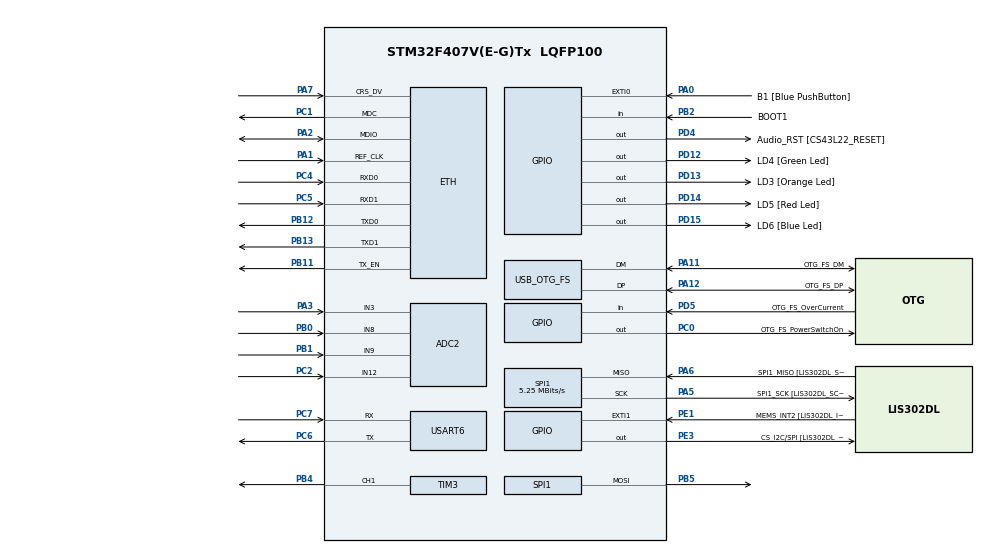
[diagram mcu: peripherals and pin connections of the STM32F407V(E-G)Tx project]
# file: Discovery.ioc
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ADC1.Channel-0\#ChannelRegularConversion=ADC_CHANNEL_TEMPSENSOR
ADC1.NbrOfConversionFlag=1
ADC1.Rank-0\#ChannelRegularConversion=1
ADC1.SamplingTime-0\#ChannelRegularConversion=ADC_SAMPLETIME_3CYCLES
ADC1.master=1
ADC2.Channel-1\#ChannelRegularConversion=ADC_CHANNEL_3
ADC2.NbrOfConversionFlag=1
ADC2.Rank-1\#ChannelRegularConversion=1
ADC2.SamplingTime-1\#ChannelRegularConversion=ADC_SAMPLETIME_3CYCLES
Dma.Request0=USART6_RX
Dma.USART6_RX.0.Direction=DMA_PERIPH_TO_MEMORY
Dma.USART6_RX.0.FIFOMode=DMA_FIFOMODE_ENABLE
Dma.USART6_RX.0.FIFOThreshold=DMA_FIFO_THRESHOLD_FULL
Dma.USART6_RX.0.Instance=DMA2_Stream1
Dma.USART6_RX.0.MemBurst=DMA_MBURST_SINGLE
Dma.USART6_RX.0.MemDataAlignment=DMA_MDATAALIGN_BYTE
Dma.USART6_RX.0.MemInc=DMA_MINC_ENABLE
Dma.USART6_RX.0.Mode=DMA_CIRCULAR
Dma.USART6_RX.0.PeriphBurst=DMA_PBURST_SINGLE
Dma.USART6_RX.0.PeriphDataAlignment=DMA_PDATAALIGN_BYTE
Dma.USART6_RX.0.PeriphInc=DMA_PINC_DISABLE
Dma.USART6_RX.0.Priority=DMA_PRIORITY_LOW
ETH.MediaInterface=HAL_ETH_RMII_MODE
ETH.RxMode=ETH_RXPOLLING_MODE
LWIP.BSP.number=1
LWIP.CHECKSUM_GEN_ICMP=1
LWIP.CHECKSUM_GEN_ICMP6=1
LWIP.CHECKSUM_GEN_IP=1
LWIP.CHECKSUM_GEN_TCP=1
LWIP.CHECKSUM_GEN_UDP=1
LWIP.LWIP_HTTPD=1
LWIP.LWIP_HTTPD_CGI=1
LWIP.LWIP_HTTPD_CGI_SSI=0
LWIP.LWIP_HTTPD_DYNAMIC_HEADERS=1
LWIP.LWIP_HTTPD_MAX_CGI_PARAMETERS=4
LWIP.LWIP_STATS=1
LWIP.LWIP_TIMERS=1
LWIP.MEMP_MEM_INIT=1
LWIP.MEMP_NUM_PBUF=16
LWIP.MEMP_NUM_SYS_TIMEOUT=14
LWIP.MEMP_NUM_TCP_PCB_LISTEN=2
LWIP.MEM_SIZE=16384
LWIP.Version=v2.1.2_Cube
LWIP0.BSP.STBoard=false
LWIP0.BSP.api=BSP_COMPONENT_DRIVER
LWIP0.BSP.component=USER_PHY
LWIP0.BSP.instance=USER_PHY
LWIP0.BSP.name=Driver_PHY
LWIP0.BSP.semaphore=S_USER_PHY
LWIP0.BSP.solution=USER_PHY
Mcu.Family=STM32F4
Mcu.Name=STM32F407V(E-G)Tx
Mcu.Package=LQFP100
NVIC.DMA2_Stream1_IRQn=true\:0\:0\:false\:false\:true\:false\:true\:true
NVIC.ETH_IRQn=true\:0\:0\:false\:false\:true\:true\:true\:true
NVIC.ETH_WKUP_IRQn=true\:0\:0\:false\:false\:true\:true\:true\:true
NVIC.OTG_FS_IRQn=true\:0\:0\:false\:false\:true\:true\:true\:true
NVIC.PriorityGroup=NVIC_PRIORITYGROUP_0
NVIC.SPI1_IRQn=true\:0\:0\:false\:false\:true\:true\:true\:true
NVIC.TIM2_IRQn=true\:0\:0\:false\:false\:true\:true\:true\:true
NVIC.TIM3_IRQn=true\:0\:0\:false\:false\:true\:true\:true\:true
NVIC.USART6_IRQn=true\:0\:0\:false\:false\:true\:true\:true\:true
PA0-WKUP.GPIO_Label=B1 [Blue PushButton]
PA0-WKUP.GPIO_ModeDefaultEXTI=GPIO_MODE_EVT_RISING
PA0-WKUP.GPIO_PuPd=GPIO_NOPULL
PA0-WKUP.Signal=GPXTI0
PA1.Mode=RMII
PA1.Signal=ETH_REF_CLK
PA10.GPIO_Label=OTG_FS_ID
PA10.GPIO_Mode=GPIO_MODE_AF_PP
PA10.GPIO_PuPd=GPIO_NOPULL
PA10.GPIO_Speed=GPIO_SPEED_FREQ_LOW
PA10.Signal=USB_OTG_FS_ID
PA11.GPIO_Label=OTG_FS_DM
PA11.GPIO_Mode=GPIO_MODE_AF_PP
PA11.GPIO_PuPd=GPIO_NOPULL
PA11.GPIO_Speed=GPIO_SPEED_FREQ_LOW
PA11.Mode=Device_Only
PA11.Signal=USB_OTG_FS_DM
PA12.GPIO_Label=OTG_FS_DP
PA12.GPIO_Mode=GPIO_MODE_AF_PP
PA12.GPIO_PuPd=GPIO_NOPULL
PA12.GPIO_Speed=GPIO_SPEED_FREQ_LOW
PA12.Mode=Device_Only
PA12.Signal=USB_OTG_FS_DP
PA13.GPIO_Label=SWDIO
PA13.Mode=Serial_Wire
PA13.Signal=SYS_JTMS-SWDIO
PA14.GPIO_Label=SWCLK
PA14.Mode=Serial_Wire
PA14.Signal=SYS_JTCK-SWCLK
PA2.Mode=RMII
PA2.Signal=ETH_MDIO
PA3.Signal=ADCx_IN3
PA4.Signal=COMP_DAC1_group
PA5.GPIO_Label=SPI1_SCK [LIS302DL_SCL/SPC]
PA5.GPIO_Mode=GPIO_MODE_AF_PP
PA5.GPIO_PuPd=GPIO_NOPULL
PA5.GPIO_Speed=GPIO_SPEED_FREQ_LOW
PA5.Mode=Full_Duplex_Master
PA5.Signal=SPI1_SCK
PA6.GPIO_Label=SPI1_MISO [LIS302DL_SDO]
PA6.GPIO_Mode=GPIO_MODE_AF_PP
PA6.GPIO_PuPd=GPIO_NOPULL
PA6.GPIO_Speed=GPIO_SPEED_FREQ_LOW
PA6.Mode=Full_Duplex_Master
PA6.Signal=SPI1_MISO
PA7.Mode=RMII
PA7.Signal=ETH_CRS_DV
PA9.GPIO_Label=VBUS_FS
PA9.GPIO_Mode=GPIO_MODE_INPUT
PA9.GPIO_PuPd=GPIO_NOPULL
PA9.Signal=USB_OTG_FS_VBUS
PB0.Signal=ADCx_IN8
PB1.Signal=ADCx_IN9
PB10.GPIO_Label=CLK_IN [MP45DT02_CLK]
PB10.GPIO_Mode=GPIO_MODE_AF_PP
PB10.GPIO_PuPd=GPIO_NOPULL
PB10.GPIO_Speed=GPIO_SPEED_FREQ_LOW
PB10.Signal=I2S2_CK
PB11.Mode=RMII
PB11.Signal=ETH_TX_EN
PB12.Mode=RMII
PB12.Signal=ETH_TXD0
PB13.Mode=RMII
PB13.Signal=ETH_TXD1
PB2.GPIO_Label=BOOT1
PB2.GPIO_Mode=GPIO_MODE_INPUT
PB2.GPIO_PuPd=GPIO_NOPULL
PB2.Signal=GPIO_Input
PB3.GPIO_Label=SWO
PB3.Signal=SYS_JTDO-SWO
PB4.Signal=S_TIM3_CH1
PB5.Mode=Full_Duplex_Master
PB5.Signal=SPI1_MOSI
PB6.GPIO_Label=Audio_SCL [CS43L22_SCL]
PB6.GPIO_Mode=GPIO_MODE_AF_OD
PB6.GPIO_Pu=GPIO_PULLUP
PB6.GPIO_PuPd=GPIO_NOPULL
PB6.GPIO_Speed=GPIO_SPEED_FREQ_LOW
PB6.Signal=I2C1_SCL
PB9.GPIO_Label=Audio_SDA [CS43L22_SDA]
PB9.GPIO_Mode=GPIO_MODE_AF_OD
PB9.GPIO_Pu=GPIO_PULLUP
PB9.GPIO_PuPd=GPIO_NOPULL
PB9.GPIO_Speed=GPIO_SPEED_FREQ_LOW
PB9.Signal=I2C1_SDA
PC0.GPIO_Label=OTG_FS_PowerSwitchOn
PC0.GPIO_PuPd=GPIO_NOPULL
PC0.GPIO_Speed=GPIO_SPEED_FREQ_LOW
PC0.PinState=GPIO_PIN_SET
PC0.Signal=GPIO_Output
PC1.Mode=RMII
PC1.Signal=ETH_MDC
PC14-OSC32_IN.GPIO_Label=PC14-OSC32_IN
PC14-OSC32_IN.Mode=LSE-External-Oscillator
PC14-OSC32_IN.Signal=RCC_OSC32_IN
PC15-OSC32_OUT.GPIO_Label=PC15-OSC32_OUT
PC15-OSC32_OUT.Mode=LSE-External-Oscillator
PC15-OSC32_OUT.Signal=RCC_OSC32_OUT
PC2.Signal=ADCx_IN12
PC3.GPIO_Label=PDM_OUT [MP45DT02_DOUT]
PC3.GPIO_Mode=GPIO_MODE_AF_PP
PC3.GPIO_PuPd=GPIO_NOPULL
PC3.GPIO_Speed=GPIO_SPEED_FREQ_LOW
PC3.Signal=I2S2_SD
PC4.Mode=RMII
PC4.Signal=ETH_RXD0
PC5.Mode=RMII
PC5.Signal=ETH_RXD1
PC6.Mode=Asynchronous
PC6.Signal=USART6_TX
PC7.Mode=Asynchronous
PC7.Signal=USART6_RX
PD12.GPIO_Label=LD4 [Green Led]
PD12.GPIO_PuPd=GPIO_NOPULL
PD12.GPIO_Speed=GPIO_SPEED_FREQ_LOW
PD12.Signal=GPIO_Output
PD13.GPIO_Label=LD3 [Orange Led]
PD13.GPIO_PuPd=GPIO_NOPULL
PD13.GPIO_Speed=GPIO_SPEED_FREQ_LOW
PD13.Signal=GPIO_Output
PD14.GPIO_Label=LD5 [Red Led]
PD14.GPIO_PuPd=GPIO_NOPULL
PD14.GPIO_Speed=GPIO_SPEED_FREQ_LOW
PD14.Signal=GPIO_Output
PD15.GPIO_Label=LD6 [Blue Led]
PD15.GPIO_PuPd=GPIO_NOPULL
PD15.GPIO_Speed=GPIO_SPEED_FREQ_LOW
PD15.Signal=GPIO_Output
PD4.GPIO_Label=Audio_RST [CS43L22_RESET]
PD4.GPIO_PuPd=GPIO_NOPULL
PD4.GPIO_Speed=GPIO_SPEED_FREQ_LOW
PD4.Signal=GPIO_Output
PD5.GPIO_Label=OTG_FS_OverCurrent
PD5.GPIO_Mode=GPIO_MODE_INPUT
PD5.GPIO_PuPd=GPIO_NOPULL
PD5.Signal=GPIO_Input
PE1.GPIO_Label=MEMS_INT2 [LIS302DL_INT2]
PE1.GPIO_ModeDefaultEXTI=GPIO_MODE_EVT_RISING
PE1.GPIO_PuPd=GPIO_NOPULL
PE1.Signal=GPXTI1
PE3.GPIO_Label=CS_I2C/SPI [LIS302DL_CS_I2C/SPI]
PE3.GPIO_PuPd=GPIO_NOPULL
PE3.GPIO_Speed=GPIO_SPEED_FREQ_LOW
PE3.Signal=GPIO_Output
PH0-OSC_IN.GPIO_Label=PH0-OSC_IN
PH0-OSC_IN.Mode=HSE-External-Oscillator
PH0-OSC_IN.Signal=RCC_OSC_IN
PH1-OSC_OUT.GPIO_Label=PH1-OSC_OUT
PH1-OSC_OUT.Mode=HSE-External-Oscillator
PH1-OSC_OUT.Signal=RCC_OSC_OUT
ProjectManager.HeapSize=0x0
ProjectManager.StackSize=0x800
ProjectManager.TargetToolchain=STM32CubeIDE
RCC.48MHZClocksFreq_Value=48000000
RCC.AHBFreq_Value=168000000
RCC.APB1CLKDivider=RCC_HCLK_DIV4
RCC.APB1Freq_Value=42000000
RCC.APB1TimFreq_Value=84000000
RCC.APB2CLKDivider=RCC_HCLK_DIV2
RCC.APB2Freq_Value=84000000
RCC.APB2TimFreq_Value=168000000
RCC.CortexFreq_Value=168000000
RCC.HCLKFreq_Value=168000000
RCC.HSE_Timout=100
RCC.HSE_VALUE=8000000
RCC.HSI_VALUE=16000000
RCC.PLLM=8
RCC.PLLN=336
RCC.PLLQ=7
RCC.SYSCLKFreq_VALUE=168000000
RCC.SYSCLKSource=RCC_SYSCLKSOURCE_PLLCLK
RCC.VCOOutputFreq_Value=336000000
SH.ADCx_IN12.0=ADC2_IN12,IN12
SH.ADCx_IN3.0=ADC2_IN3,IN3
SH.ADCx_IN8.0=ADC2_IN8,IN8
SH.ADCx_IN9.0=ADC2_IN9,IN9
SH.COMP_DAC1_group.0=DAC_OUT1
SH.S_TIM3_CH1.0=TIM3_CH1,PWM Generation1 CH1
SPI1.BaudRatePrescaler=SPI_BAUDRATEPRESCALER_16
SPI1.CLKPhase=SPI_PHASE_2EDGE
SPI1.CLKPolarity=SPI_POLARITY_LOW
SPI1.CalculateBaudRate=5.25 MBits/s
SPI1.Direction=SPI_DIRECTION_2LINES
SPI1.Mode=SPI_MODE_MASTER
SPI1.VirtualType=VM_MASTER
TIM2.CounterMode=TIM_COUNTERMODE_UP
TIM2.Prescaler=8399
TIM3.Channel-PWM\ Generation1\ CH1=TIM_CHANNEL_1
TIM5.Prescaler=8399
USART6.VirtualMode=VM_ASYNC
USB_OTG_FS.VirtualMode=Device_Only
VP_ADC1_TempSens_Input.Mode=IN-TempSens
VP_ADC1_Vbat_Input.Mode=IN-Vbat
VP_ADC1_Vref_Input.Mode=IN-Vrefint
VP_LWIP_VS_Enabled.Mode=Enabled
VP_RTC_VS_RTC_Activate.Mode=RTC_Enabled
VP_TIM2_VS_ClockSourceINT.Mode=Internal
VP_TIM2_VS_OPM.Mode=OPM_bit
VP_TIM3_VS_ClockSourceINT.Mode=Internal
VP_TIM5_VS_ClockSourceINT.Mode=Internal
board=STM32F407G-DISC1

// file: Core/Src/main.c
/* USER CODE BEGIN Header */
/**
  ******************************************************************************
  * @file           : main.c
  * @brief          : Main program body
  ******************************************************************************
  * @attention
  *
  * Copyright (c) 2026 STMicroelectronics.
  * All rights reserved.
  *
  * This software is licensed under terms that can be found in the LICENSE file
  * in the root directory of this software component.
  * If no LICENSE file comes with this software, it is provided AS-IS.
  *
  ******************************************************************************
  */
/* USER CODE END Header */
#include "main.h"
#include "adc.h"
#include "dma.h"
#include "lwip.h"
#include "rtc.h"
#include "spi.h"
#include "tim.h"
#include "usart.h"
#include "usb_otg.h"
#include "gpio.h"

/* USER CODE BEGIN Includes */
#include "cli_transport_usart6.h"
#include "usb_init.h"
#include "tea.h"
#include "accel.h"
#include "button.h"
#include "canary.h"

void init_tea();
void init_cli();
void run();
void network_init(void);
void ADC_Driver_Init();   // once, after clocks are up
void MW_Init(void);
void DAC_Sine_Init(uint32_t freq_hz);  // once, after clocks are up
/* USER CODE END Includes */

void SystemClock_Config(void);

/* USER CODE BEGIN 0 */
bool visible_word(char *s) { return true; } // for word filtering; default is none

/* USER CODE END 0 */

int main(void)
{

  /* MCU Configuration--------------------------------------------------------*/

  /* Reset of all peripherals, Initializes the Flash interface and the Systick. */
  HAL_Init();

  /* USER CODE BEGIN Init */
  stack_canary_init();   /* fill stack with 0xDEADBEEF before any deep calls */
  /* USER CODE END Init */

  /* Configure the system clock */
  SystemClock_Config();

  /* Initialize all configured peripherals */
  MX_GPIO_Init();
  MX_DMA_Init();
  MX_LWIP_Init();
  MX_TIM2_Init();
  MX_USART6_UART_Init();
  MX_TIM5_Init();
  MX_USB_OTG_FS_PCD_Init();
  MX_SPI1_Init();
  MX_ADC1_Init();
  MX_TIM3_Init();
  MX_ADC2_Init();
  MX_RTC_Init();
  /* USER CODE BEGIN 2 */
  init_tea();
  init_cli();
  usart6_transport_init();
  cdc_transport_init();
  ADC_Driver_Init();
  DAC_Sine_Init(1000);   // 1 kHz default; change with DAC_Sine_SetFreq() via CLI
  later(network_init);
  later(accel_init);
  later(button_init);
  later(MW_Init);
  namedAction(network_init);
  namedAction(accel_init);
  namedAction(button_init);
  namedAction(MW_Init);
  /* USER CODE END 2 */

  /* Infinite loop */
  /* USER CODE BEGIN WHILE */
  while (1)
  {
    run();
    /* USER CODE END WHILE */

  }
}

void SystemClock_Config(void)
{
  LL_FLASH_SetLatency(LL_FLASH_LATENCY_5);
  while(LL_FLASH_GetLatency()!= LL_FLASH_LATENCY_5)
  {
  }
  LL_PWR_SetRegulVoltageScaling(LL_PWR_REGU_VOLTAGE_SCALE1);
  LL_RCC_HSE_Enable();

   /* Wait till HSE is ready */
  while(LL_RCC_HSE_IsReady() != 1)
  {

  }
  LL_RCC_LSI_Enable();

   /* Wait till LSI is ready */
  while(LL_RCC_LSI_IsReady() != 1)
  {

  }
  LL_PWR_EnableBkUpAccess();
  LL_RCC_PLL_ConfigDomain_SYS(LL_RCC_PLLSOURCE_HSE, LL_RCC_PLLM_DIV_8, 336, LL_RCC_PLLP_DIV_2);
  LL_RCC_PLL_ConfigDomain_48M(LL_RCC_PLLSOURCE_HSE, LL_RCC_PLLM_DIV_8, 336, LL_RCC_PLLQ_DIV_7);
  LL_RCC_PLL_Enable();

   /* Wait till PLL is ready */
  while(LL_RCC_PLL_IsReady() != 1)
  {

  }
  while (LL_PWR_IsActiveFlag_VOS() == 0)
  {
  }
  LL_RCC_SetAHBPrescaler(LL_RCC_SYSCLK_DIV_1);
  LL_RCC_SetAPB1Prescaler(LL_RCC_APB1_DIV_4);
  LL_RCC_SetAPB2Prescaler(LL_RCC_APB2_DIV_2);
  LL_RCC_SetSysClkSource(LL_RCC_SYS_CLKSOURCE_PLL);

   /* Wait till System clock is ready */
  while(LL_RCC_GetSysClkSource() != LL_RCC_SYS_CLKSOURCE_STATUS_PLL)
  {

  }
  LL_SetSystemCoreClock(168000000);

   /* Update the time base */
  if (HAL_InitTick (TICK_INT_PRIORITY) != HAL_OK)
  {
    Error_Handler();
  }
}

void Error_Handler(void)
{
  __disable_irq();
  while (1)
  {
  }
}
